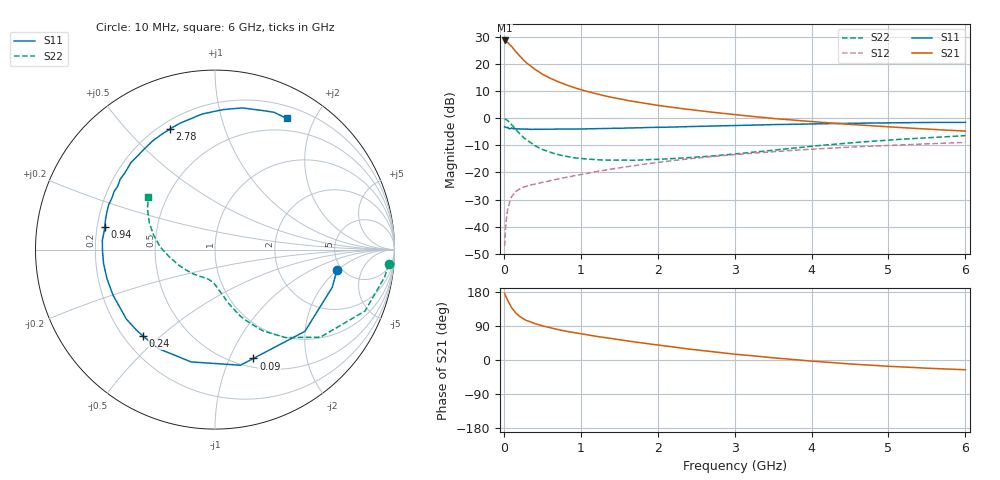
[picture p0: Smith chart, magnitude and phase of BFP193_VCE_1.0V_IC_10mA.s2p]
! Infineon Technologies  Discrete & RF Semiconductors
! BFP193
! VCE = 1.0 V,  IC =  10 mA
! Common Emitter S-Parameters:  Jan 2016
# GHz  S  MA  R  50
!  f  S11  S21  S12  S22
! GHz  MAG  ANG  MAG  ANG  MAG  ANG  MAG  ANG
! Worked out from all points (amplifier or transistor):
!   210 points, 10 MHz to 6 GHz, reference 50 ohm
!   highest |S21| = 28.6 dB at 10 MHz (marker M1)
!   |S21| within 3 dB of that: start of sweep to 123.2 MHz
!   unconditionally stable (mu >= 1): 925.8 MHz to 3.958 GHz
!   at 185 MHz: K = 0.33, MSG = 25.0 dB, |S12| = -26.4 dB
!   at 1.52 GHz: K = 1.11, MAG = 10.6 dB, |S12| = -18.2 dB
!   at 6 GHz: K = 0.96, MSG = 2.1 dB, |S12| = -8.9 dB
!   S11 on the Smith chart (normalised r, x): 10 MHz: 4.57, -1.94; 90 MHz: 0.59, -1.23; 240 MHz: 0.28, -0.44; 940 MHz: 0.23, +0.10; 2.78 GHz: 0.24, +0.67; 6 GHz: 0.34, +1.63
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0.01  0.6887 -9.3  26.79 175.8  0.0044 86.5  0.971 -4.8
0.02  0.6866 -17.7  26.14 169.8  0.0085 82.6  0.9573 -9.2
0.05  0.6771 -42.3  24.67 156.6  0.0208 70.5  0.9029 -22.3
0.09  0.6431 -70.6  21.44 142.5  0.0326 59.1  0.7851 -35.8
0.1  0.6597 -77.6  20.88 138.4  0.0357 57.4  0.7636 -39.7
0.15  0.6397 -102.0  17.03 124.8  0.044 48.6  0.6283 -51.3
0.2  0.6352 -119.6  14.19 115.8  0.0493 43.8  0.5254 -59.5
0.24  0.627 -129.7  12.29 110.4  0.0526 41.3  0.4614 -63.9
0.26  0.6265 -134.2  11.51 107.9  0.0539 40.5  0.4351 -66.0
0.3  0.6276 -141.9  10.22 103.7  0.0561 39.9  0.393 -69.4
0.4  0.6223 -156.0  7.958 96.1  0.061 39.4  0.3123 -75.5
0.5  0.6233 -165.1  6.435 90.1  0.0655 40.0  0.2646 -79.7
0.7  0.627 -179.7  4.7 80.2  0.0756 42.3  0.2134 -86.2
0.94  0.6276 168.4  3.541 71.3  0.0883 44.6  0.1843 -93.0
1.02  0.6325 164.7  3.273 68.5  0.0927 45.1  0.1794 -95.1
1.4  0.6488 150.0  2.405 56.5  0.1151 46.0  0.1687 -105.4
2.02  0.6758 130.7  1.699 39.1  0.1541 44.0  0.1743 -124.8
2.78  0.7178 110.4  1.25 20.4  0.1999 37.9  0.205 -149.8
3.1  0.7344 103.3  1.121 13.6  0.2183 34.8  0.2252 -159.6
4.1  0.785 85.1  0.841 -4.4  0.2726 24.6  0.3127 175.2
5.1  0.8186 71.2  0.677 -17.5  0.3185 13.9  0.4024 156.1
6  0.8329 61.3  0.577 -25.7  0.357 4.2  0.475 141.6
